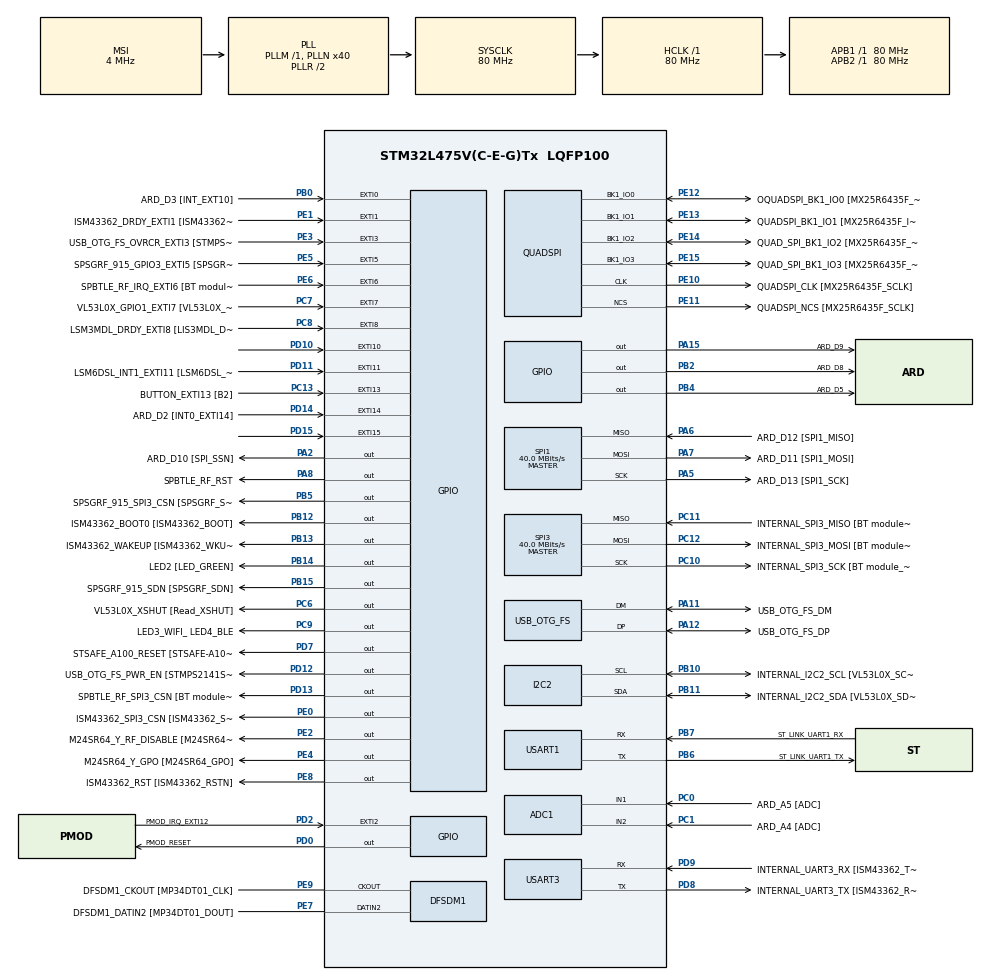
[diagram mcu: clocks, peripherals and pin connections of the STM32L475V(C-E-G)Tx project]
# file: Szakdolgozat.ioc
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ADC1.Channel-0\#ChannelRegularConversion=ADC_CHANNEL_1
ADC1.NbrOfConversionFlag=1
ADC1.OffsetNumber-0\#ChannelRegularConversion=ADC_OFFSET_NONE
ADC1.Rank-0\#ChannelRegularConversion=1
ADC1.SamplingTime-0\#ChannelRegularConversion=ADC_SAMPLETIME_2CYCLES_5
ADC1.master=1
ADC3.Channel-0\#ChannelRegularConversion=ADC_CHANNEL_TEMPSENSOR
ADC3.NbrOfConversionFlag=1
ADC3.OffsetNumber-0\#ChannelRegularConversion=ADC_OFFSET_NONE
ADC3.Rank-0\#ChannelRegularConversion=1
ADC3.SamplingTime-0\#ChannelRegularConversion=ADC_SAMPLETIME_2CYCLES_5
I2C2.Timing=0x10D19CE4
Mcu.Family=STM32L4
Mcu.Name=STM32L475V(C-E-G)Tx
Mcu.Package=LQFP100
NVIC.EXTI15_10_IRQn=true\:0\:0\:false\:false\:true\:true\:true\:true
NVIC.EXTI9_5_IRQn=true\:0\:0\:false\:false\:true\:true\:true\:true
NVIC.PriorityGroup=NVIC_PRIORITYGROUP_4
PA0.GPIO_Label=ARD_D1 [UART4_TX]
PA0.Signal=UART4_TX
PA1.GPIO_Label=ARD_D0 [UART4_RX]
PA1.Signal=UART4_RX
PA10.GPIO_Label=USB_OTG_FS_ID
PA10.Signal=USB_OTG_FS_ID
PA11.GPIO_Label=USB_OTG_FS_DM
PA11.Mode=Device_Only
PA11.Signal=USB_OTG_FS_DM
PA12.GPIO_Label=USB_OTG_FS_DP
PA12.Mode=Device_Only
PA12.Signal=USB_OTG_FS_DP
PA13\ (JTMS-SWDIO).GPIO_Label=SYS_JTMS_SWDIO
PA13\ (JTMS-SWDIO).Mode=Serial_Wire
PA13\ (JTMS-SWDIO).Signal=SYS_JTMS-SWDIO
PA14\ (JTCK-SWCLK).GPIO_Label=SYS_JTCK_SWCLK
PA14\ (JTCK-SWCLK).Mode=Serial_Wire
PA14\ (JTCK-SWCLK).Signal=SYS_JTCK-SWCLK
PA15\ (JTDI).GPIO_Label=ARD_D9
PA15\ (JTDI).Signal=GPIO_Output
PA2.GPIO_Label=ARD_D10 [SPI_SSN]
PA2.Signal=GPIO_Output
PA3.GPIO_Label=ARD_D4
PA3.Signal=S_TIM2_CH4
PA4.GPIO_Label=ARD_D7
PA4.Signal=ADCx_IN9
PA5.GPIO_Label=ARD_D13 [SPI1_SCK]
PA5.Mode=Full_Duplex_Master
PA5.Signal=SPI1_SCK
PA6.GPIO_Label=ARD_D12 [SPI1_MISO]
PA6.Mode=Full_Duplex_Master
PA6.Signal=SPI1_MISO
PA7.GPIO_Label=ARD_D11 [SPI1_MOSI]
PA7.Mode=Full_Duplex_Master
PA7.Signal=SPI1_MOSI
PA8.GPIO_Label=SPBTLE_RF_RST
PA8.Signal=GPIO_Output
PA9.GPIO_Label=USB_OTG_FS_VBUS [STMPS2141STR_OUT]
PA9.Signal=USB_OTG_FS_VBUS
PB0.GPIO_Label=ARD_D3 [INT_EXT10]
PB0.Signal=GPXTI0
PB1.GPIO_Label=ARD_D6 [ADC1_IN6]
PB1.Signal=ADCx_IN16
PB10.GPIO_Label=INTERNAL_I2C2_SCL [VL53L0X_SCL]
PB10.GPIO_Pu=GPIO_PULLUP
PB10.Mode=I2C
PB10.Signal=I2C2_SCL
PB11.GPIO_Label=INTERNAL_I2C2_SDA [VL53L0X_SDA]
PB11.GPIO_Pu=GPIO_PULLUP
PB11.Mode=I2C
PB11.Signal=I2C2_SDA
PB12.GPIO_Label=ISM43362_BOOT0 [ISM43362_BOOT]
PB12.Signal=GPIO_Output
PB13.GPIO_Label=ISM43362_WAKEUP [ISM43362_WKUP]
PB13.Signal=GPIO_Output
PB14.GPIO_Label=LED2 [LED_GREEN]
PB14.Signal=GPIO_Output
PB15.GPIO_Label=SPSGRF_915_SDN [SPSGRF_SDN]
PB15.Signal=GPIO_Output
PB2.GPIO_Label=ARD_D8
PB2.Signal=GPIO_Output
PB3\ (JTDO-TRACESWO).GPIO_Label=SYS_JTD0_SWO
PB3\ (JTDO-TRACESWO).Signal=SYS_JTDO-SWO
PB4\ (NJTRST).GPIO_Label=ARD_D5
PB4\ (NJTRST).Signal=GPIO_Output
PB5.GPIO_Label=SPSGRF_915_SPI3_CSN [SPSGRF_SPI_CS]
PB5.PinState=GPIO_PIN_SET
PB5.Signal=GPIO_Output
PB6.GPIO_Label=ST_LINK_UART1_TX
PB6.Mode=Asynchronous
PB6.Signal=USART1_TX
PB7.GPIO_Label=ST_LINK_UART1_RX
PB7.Mode=Asynchronous
PB7.Signal=USART1_RX
PB8.GPIO_Label=ARD_D15 [I2C1_SCL]
PB8.Signal=I2C1_SCL
PB9.GPIO_Label=ARD_D14 [I2C1_SDA]
PB9.Signal=I2C1_SDA
PC0.GPIO_Label=ARD_A5 [ADC]
PC0.Signal=ADCx_IN1
PC1.GPIO_Label=ARD_A4 [ADC]
PC1.Signal=ADCx_IN2
PC10.GPIO_Label=INTERNAL_SPI3_SCK [BT module_SPI_SCLK] [ISM43362_SCK]
PC10.Mode=Full_Duplex_Master
PC10.Signal=SPI3_SCK
PC11.GPIO_Label=INTERNAL_SPI3_MISO [BT module_SPI_MISO] [ISM43362_MISO]
PC11.Mode=Full_Duplex_Master
PC11.Signal=SPI3_MISO
PC12.GPIO_Label=INTERNAL_SPI3_MOSI [BT module_SPI_MOSI] [ISM43362_MOSI]
PC12.Mode=Full_Duplex_Master
PC12.Signal=SPI3_MOSI
PC13.GPIO_Label=BUTTON_EXTI13 [B2]
PC13.GPIO_ModeDefaultEXTI=GPIO_MODE_IT_FALLING
PC13.Signal=GPXTI13
PC14-OSC32_IN\ (PC14).Mode=LSE-External-Oscillator
PC14-OSC32_IN\ (PC14).Signal=RCC_OSC32_IN
PC15-OSC32_OUT\ (PC15).Mode=LSE-External-Oscillator
PC15-OSC32_OUT\ (PC15).Signal=RCC_OSC32_OUT
PC2.GPIO_Label=ARD_A3 [ADC]
PC2.Signal=ADCx_IN3
PC3.GPIO_Label=ARD_A2 [ADC]
PC3.Signal=ADCx_IN4
PC4.GPIO_Label=ARD_A1 [ADC]
PC4.Signal=ADCx_IN13
PC5.GPIO_Label=ARD_A0 [ADC]
PC5.Signal=ADCx_IN14
PC6.GPIO_Label=VL53L0X_XSHUT [Read_XSHUT]
PC6.Signal=GPIO_Output
PC7.GPIO_Label=VL53L0X_GPIO1_EXTI7 [VL53L0X_GPIO1]
PC7.Signal=GPXTI7
PC8.GPIO_Label=LSM3MDL_DRDY_EXTI8 [LIS3MDL_DRDY]
PC8.Signal=GPXTI8
PC9.GPIO_Label=LED3_WIFI_ LED4_BLE
PC9.Signal=GPIO_Output
PD0.GPIO_Label=PMOD_RESET
PD0.Signal=GPIO_Output
PD1.GPIO_Label=PMOD_SPI2_SCK
PD1.Signal=SPI2_SCK
PD10.Signal=GPXTI10
PD11.GPIO_Label=LSM6DSL_INT1_EXTI11 [LSM6DSL_INT1]
PD11.Signal=GPXTI11
PD12.GPIO_Label=USB_OTG_FS_PWR_EN [STMPS2141STR_EN]
PD12.Signal=GPIO_Output
PD13.GPIO_Label=SPBTLE_RF_SPI3_CSN [BT module_SPI_CS]
PD13.PinState=GPIO_PIN_SET
PD13.Signal=GPIO_Output
PD14.GPIO_Label=ARD_D2 [INT0_EXTI14]
PD14.Signal=GPXTI14
PD15.Signal=GPXTI15
PD2.GPIO_Label=PMOD_IRQ_EXTI12
PD2.Signal=GPXTI2
PD3.GPIO_Label=PMOD_UART2_CTS
PD3.Signal=USART2_CTS
PD4.GPIO_Label=PMOD_UART2_RTS
PD4.Signal=USART2_RTS
PD5.GPIO_Label=PMOD_UART2_TX
PD5.Signal=USART2_TX
PD6.GPIO_Label=PMOD_UART2_RX
PD6.Signal=USART2_RX
PD7.GPIO_Label=STSAFE_A100_RESET [STSAFE-A100_RESET]
PD7.Signal=GPIO_Output
PD8.GPIO_Label=INTERNAL_UART3_TX [ISM43362_RX]
PD8.Mode=Asynchronous
PD8.Signal=USART3_TX
PD9.GPIO_Label=INTERNAL_UART3_RX [ISM43362_TX]
PD9.Mode=Asynchronous
PD9.Signal=USART3_RX
PE0.GPIO_Label=ISM43362_SPI3_CSN [ISM43362_SSN]
PE0.PinState=GPIO_PIN_SET
PE0.Signal=GPIO_Output
PE1.GPIO_Label=ISM43362_DRDY_EXTI1 [ISM43362_DATARDY]
PE1.Signal=GPXTI1
PE10.GPIO_Label=QUADSPI_CLK [MX25R6435F_SCLK]
PE10.Mode=Single Bank
PE10.Signal=QUADSPI_CLK
PE11.GPIO_Label=QUADSPI_NCS [MX25R6435F_SCLK]
PE11.Mode=Single Bank
PE11.Signal=QUADSPI_NCS
PE12.GPIO_Label=OQUADSPI_BK1_IO0 [MX25R6435F_IO0]
PE12.Mode=Single Bank
PE12.Signal=QUADSPI_BK1_IO0
PE13.GPIO_Label=QUADSPI_BK1_IO1 [MX25R6435F_IO1]
PE13.Mode=Single Bank
PE13.Signal=QUADSPI_BK1_IO1
PE14.GPIO_Label=QUAD_SPI_BK1_IO2 [MX25R6435F_IO2]
PE14.Mode=Single Bank
PE14.Signal=QUADSPI_BK1_IO2
PE15.GPIO_Label=QUAD_SPI_BK1_IO3 [MX25R6435F_IO3]
PE15.Mode=Single Bank
PE15.Signal=QUADSPI_BK1_IO3
PE2.GPIO_Label=M24SR64_Y_RF_DISABLE [M24SR64_RFDIS]
PE2.Signal=GPIO_Output
PE3.GPIO_Label=USB_OTG_FS_OVRCR_EXTI3 [STMPS2141STR_FAULT]
PE3.Signal=GPXTI3
PE4.GPIO_Label=M24SR64_Y_GPO [M24SR64_GPO]
PE4.Signal=GPIO_Output
PE5.GPIO_Label=SPSGRF_915_GPIO3_EXTI5 [SPSGRF_GPIO_3]
PE5.Signal=GPXTI5
PE6.GPIO_Label=SPBTLE_RF_IRQ_EXTI6 [BT module_SPI_IRQ]
PE6.Signal=GPXTI6
PE7.GPIO_Label=DFSDM1_DATIN2 [MP34DT01_DOUT]
PE7.Signal=S_DATAIN2DFSDM1
PE8.GPIO_Label=ISM43362_RST [ISM43362_RSTN]
PE8.Signal=GPIO_Output
PE9.GPIO_Label=DFSDM1_CKOUT [MP34DT01_CLK]
PE9.Signal=S_CKOUTDFSDM1
ProjectManager.HeapSize=0x200
ProjectManager.StackSize=0x400
ProjectManager.TargetToolchain=STM32CubeIDE
QUADSPI.ClockPrescaler=2
QUADSPI.FifoThreshold=4
QUADSPI.FlashSize=23
QUADSPI.SampleShifting=QSPI_SAMPLE_SHIFTING_HALFCYCLE
RCC.ADCFreq_Value=48000000
RCC.AHBFreq_Value=80000000
RCC.APB1Freq_Value=80000000
RCC.APB1TimFreq_Value=80000000
RCC.APB2Freq_Value=80000000
RCC.APB2TimFreq_Value=80000000
RCC.CortexFreq_Value=80000000
RCC.HCLKFreq_Value=80000000
RCC.HSE_VALUE=8000000
RCC.HSI_VALUE=16000000
RCC.MSI_VALUE=4000000
RCC.PLLN=40
RCC.PLLSAI1N=24
RCC.SYSCLKFreq_VALUE=80000000
RCC.SYSCLKSource=RCC_SYSCLKSOURCE_PLLCLK
RCC.USBFreq_Value=48000000
RCC.VCOOutputFreq_Value=160000000
SH.ADCx_IN1.0=ADC1_IN1,IN1-Single-Ended
SH.ADCx_IN13.0=ADC1_IN13
SH.ADCx_IN14.0=ADC1_IN14
SH.ADCx_IN16.0=ADC1_IN16
SH.ADCx_IN2.0=ADC1_IN2,IN2-Single-Ended
SH.ADCx_IN3.0=ADC1_IN3
SH.ADCx_IN4.0=ADC1_IN4
SH.ADCx_IN9.0=ADC1_IN9
SH.S_CKOUTDFSDM1.0=DFSDM1_CKOUT,CKOUT
SH.S_CKOUTDFSDM1.1=DFSDM1_CKOUT,PDM_SPI_Input_from_ch12_and_Internal_Clock
SH.S_DATAIN2DFSDM1.0=DFSDM1_DATIN2,PDM_SPI_Input_from_ch12_and_Internal_Clock
SH.S_TIM2_CH4.0=TIM2_CH4
SPI1.CalculateBaudRate=40.0 MBits/s
SPI1.Direction=SPI_DIRECTION_2LINES
SPI1.Mode=SPI_MODE_MASTER
SPI1.VirtualType=VM_MASTER
SPI3.CalculateBaudRate=40.0 MBits/s
SPI3.Direction=SPI_DIRECTION_2LINES
SPI3.Mode=SPI_MODE_MASTER
SPI3.VirtualType=VM_MASTER
STMicroelectronics.X-CUBE-MEMS1.11.0.0.BoardOoPartJjHumTempJjHTS221=I2C
STMicroelectronics.X-CUBE-MEMS1.11.0.0.BoardOoPartJjPressTempJjLPS22HB=I2C
USART1.VirtualMode-Asynchronous=VM_ASYNC
USART3.VirtualMode-Asynchronous=VM_ASYNC
USB_OTG_FS.VirtualMode=Device_Only
VP_ADC3_TempSens_Input.Mode=IN-TempSens
VP_STMicroelectronics.X-CUBE-MEMS1_VS_BoardOoPartJjHumTemp_5.6.0_11.0.0.Mode=BoardOoPartJjHumTemp
VP_STMicroelectronics.X-CUBE-MEMS1_VS_BoardOoPartJjPressTemp_5.6.0_11.0.0.Mode=BoardOoPartJjPressTemp
board=B-L475E-IOT01A2

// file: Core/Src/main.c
/* USER CODE BEGIN Header */
/**
  ******************************************************************************
  * @file           : main.c
  * @brief          : Main program body
  ******************************************************************************
  * @attention
  *
  * Copyright (c) 2024 STMicroelectronics.
  * All rights reserved.
  *
  * This software is licensed under terms that can be found in the LICENSE file
  * in the root directory of this software component.
  * If no LICENSE file comes with this software, it is provided AS-IS.
  *
  ******************************************************************************
  */
/* USER CODE END Header */
#include "main.h"

/* USER CODE BEGIN Includes */

#include <math.h>
#include <string.h>
#include <stdio.h>
#include "hts221.h"

/* USER CODE END Includes */

/* USER CODE BEGIN PD */

#define HTS221_ADDR 0xBE // 0xBE/0xBF HTS221 I2C cím (0x5F balra tolva 1 bittel)
#define LPS22HB_ADDR 0xBA // 0xBA/0xBB LPS22HB I2C cím (0x5D balra tolva 1 bittel)

/* USER CODE END PD */

ADC_HandleTypeDef hadc1;
ADC_HandleTypeDef hadc3;

DFSDM_Channel_HandleTypeDef hdfsdm1_channel1;

I2C_HandleTypeDef hi2c2;

QSPI_HandleTypeDef hqspi;

SPI_HandleTypeDef hspi1;
SPI_HandleTypeDef hspi3;

UART_HandleTypeDef huart1;
UART_HandleTypeDef huart3;

PCD_HandleTypeDef hpcd_USB_OTG_FS;

/* USER CODE BEGIN PV */

char taskmsg[100];
HTS221_Object_t hts221;

/* USER CODE END PV */

void SystemClock_Config(void);
void PeriphCommonClock_Config(void);
static void MX_GPIO_Init(void);
static void MX_DFSDM1_Init(void);
static void MX_I2C2_Init(void);
static void MX_QUADSPI_Init(void);
static void MX_SPI3_Init(void);
static void MX_USART1_UART_Init(void);
static void MX_USART3_UART_Init(void);
static void MX_USB_OTG_FS_PCD_Init(void);
static void MX_ADC1_Init(void);
static void MX_ADC3_Init(void);
static void MX_SPI1_Init(void);
/* USER CODE BEGIN PFP */

void Temp_Sensor_Init();
void read_environment_data(void);

/* USER CODE END PFP */

int main(void)
{

  /* MCU Configuration--------------------------------------------------------*/

  /* Reset of all peripherals, Initializes the Flash interface and the Systick. */
  HAL_Init();

  /* Configure the system clock */
  SystemClock_Config();

  /* Configure the peripherals common clocks */
  PeriphCommonClock_Config();

  /* USER CODE BEGIN SysInit */
  void I2C_Scanner(void)
  {
      char msg[64];
      HAL_StatusTypeDef result;
      uint8_t i;

      sprintf(msg, "I2C Scanner Results:\r\n");
      HAL_UART_Transmit(&huart1, (uint8_t*)msg, strlen(msg), HAL_MAX_DELAY);

      // I2C címtartomány 0x08 - 0x77 (7 bites címzés)
      for (i = 0x08; i < 0x78; i++)
      {
          result = HAL_I2C_IsDeviceReady(&hi2c2, (uint16_t)(i << 1), 1, HAL_MAX_DELAY);
          if (result == HAL_OK)
          {
              // Ha van válasz, kiírjuk a címet
              sprintf(msg, "Eszköz talált az alábbi címen: 0x%02X\r\n", i);
              HAL_UART_Transmit(&huart1, (uint8_t*)msg, strlen(msg), HAL_MAX_DELAY);
          }
      }

      sprintf(msg, "I2C szkennelés vége\r\n");
      HAL_UART_Transmit(&huart1, (uint8_t*)msg, strlen(msg), HAL_MAX_DELAY);
  }

  /* USER CODE END SysInit */

  /* Initialize all configured peripherals */
  MX_GPIO_Init();
  MX_DFSDM1_Init();
  MX_I2C2_Init();
  MX_QUADSPI_Init();
  MX_SPI3_Init();
  MX_USART1_UART_Init();
  MX_USART3_UART_Init();
  MX_USB_OTG_FS_PCD_Init();
  MX_ADC1_Init();
  MX_ADC3_Init();
  MX_SPI1_Init();
  /* USER CODE BEGIN 2 */

  Temp_Sensor_Init();

  /* USER CODE END 2 */

  /* Infinite loop */
  /* USER CODE BEGIN WHILE */
  I2C_Scanner();
  while (1)
  {
	  read_environment_data();
	  HAL_Delay(600000); // 10 percenként ismétel
    /* USER CODE END WHILE */

  }
}

void SystemClock_Config(void)
{
  RCC_OscInitTypeDef RCC_OscInitStruct = {0};
  RCC_ClkInitTypeDef RCC_ClkInitStruct = {0};

  /** Configure the main internal regulator output voltage
  */
  if (HAL_PWREx_ControlVoltageScaling(PWR_REGULATOR_VOLTAGE_SCALE1) != HAL_OK)
  {
    Error_Handler();
  }

  /** Configure LSE Drive Capability
  */
  HAL_PWR_EnableBkUpAccess();
  __HAL_RCC_LSEDRIVE_CONFIG(RCC_LSEDRIVE_LOW);

  /** Initializes the RCC Oscillators according to the specified parameters
  * in the RCC_OscInitTypeDef structure.
  */
  RCC_OscInitStruct.OscillatorType = RCC_OSCILLATORTYPE_LSE|RCC_OSCILLATORTYPE_MSI;
  RCC_OscInitStruct.LSEState = RCC_LSE_ON;
  RCC_OscInitStruct.MSIState = RCC_MSI_ON;
  RCC_OscInitStruct.MSICalibrationValue = 0;
  RCC_OscInitStruct.MSIClockRange = RCC_MSIRANGE_6;
  RCC_OscInitStruct.PLL.PLLState = RCC_PLL_ON;
  RCC_OscInitStruct.PLL.PLLSource = RCC_PLLSOURCE_MSI;
  RCC_OscInitStruct.PLL.PLLM = 1;
  RCC_OscInitStruct.PLL.PLLN = 40;
  RCC_OscInitStruct.PLL.PLLP = RCC_PLLP_DIV7;
  RCC_OscInitStruct.PLL.PLLQ = RCC_PLLQ_DIV2;
  RCC_OscInitStruct.PLL.PLLR = RCC_PLLR_DIV2;
  if (HAL_RCC_OscConfig(&RCC_OscInitStruct) != HAL_OK)
  {
    Error_Handler();
  }

  /** Initializes the CPU, AHB and APB buses clocks
  */
  RCC_ClkInitStruct.ClockType = RCC_CLOCKTYPE_HCLK|RCC_CLOCKTYPE_SYSCLK
                              |RCC_CLOCKTYPE_PCLK1|RCC_CLOCKTYPE_PCLK2;
  RCC_ClkInitStruct.SYSCLKSource = RCC_SYSCLKSOURCE_PLLCLK;
  RCC_ClkInitStruct.AHBCLKDivider = RCC_SYSCLK_DIV1;
  RCC_ClkInitStruct.APB1CLKDivider = RCC_HCLK_DIV1;
  RCC_ClkInitStruct.APB2CLKDivider = RCC_HCLK_DIV1;

  if (HAL_RCC_ClockConfig(&RCC_ClkInitStruct, FLASH_LATENCY_4) != HAL_OK)
  {
    Error_Handler();
  }

  /** Enable MSI Auto calibration
  */
  HAL_RCCEx_EnableMSIPLLMode();
}

void PeriphCommonClock_Config(void)
{
  RCC_PeriphCLKInitTypeDef PeriphClkInit = {0};

  /** Initializes the peripherals clock
  */
  PeriphClkInit.PeriphClockSelection = RCC_PERIPHCLK_USB|RCC_PERIPHCLK_ADC;
  PeriphClkInit.AdcClockSelection = RCC_ADCCLKSOURCE_PLLSAI1;
  PeriphClkInit.UsbClockSelection = RCC_USBCLKSOURCE_PLLSAI1;
  PeriphClkInit.PLLSAI1.PLLSAI1Source = RCC_PLLSOURCE_MSI;
  PeriphClkInit.PLLSAI1.PLLSAI1M = 1;
  PeriphClkInit.PLLSAI1.PLLSAI1N = 24;
  PeriphClkInit.PLLSAI1.PLLSAI1P = RCC_PLLP_DIV7;
  PeriphClkInit.PLLSAI1.PLLSAI1Q = RCC_PLLQ_DIV2;
  PeriphClkInit.PLLSAI1.PLLSAI1R = RCC_PLLR_DIV2;
  PeriphClkInit.PLLSAI1.PLLSAI1ClockOut = RCC_PLLSAI1_48M2CLK|RCC_PLLSAI1_ADC1CLK;
  if (HAL_RCCEx_PeriphCLKConfig(&PeriphClkInit) != HAL_OK)
  {
    Error_Handler();
  }
}

static void MX_ADC1_Init(void)
{

  ADC_MultiModeTypeDef multimode = {0};
  ADC_ChannelConfTypeDef sConfig = {0};

  /** Common config
  */
  hadc1.Instance = ADC1;
  hadc1.Init.ClockPrescaler = ADC_CLOCK_ASYNC_DIV1;
  hadc1.Init.Resolution = ADC_RESOLUTION_12B;
  hadc1.Init.DataAlign = ADC_DATAALIGN_RIGHT;
  hadc1.Init.ScanConvMode = ADC_SCAN_DISABLE;
  hadc1.Init.EOCSelection = ADC_EOC_SINGLE_CONV;
  hadc1.Init.LowPowerAutoWait = DISABLE;
  hadc1.Init.ContinuousConvMode = DISABLE;
  hadc1.Init.NbrOfConversion = 1;
  hadc1.Init.DiscontinuousConvMode = DISABLE;
  hadc1.Init.ExternalTrigConv = ADC_SOFTWARE_START;
  hadc1.Init.ExternalTrigConvEdge = ADC_EXTERNALTRIGCONVEDGE_NONE;
  hadc1.Init.DMAContinuousRequests = DISABLE;
  hadc1.Init.Overrun = ADC_OVR_DATA_PRESERVED;
  hadc1.Init.OversamplingMode = DISABLE;
  if (HAL_ADC_Init(&hadc1) != HAL_OK)
  {
    Error_Handler();
  }

  /** Configure the ADC multi-mode
  */
  multimode.Mode = ADC_MODE_INDEPENDENT;
  if (HAL_ADCEx_MultiModeConfigChannel(&hadc1, &multimode) != HAL_OK)
  {
    Error_Handler();
  }

  /** Configure Regular Channel
  */
  sConfig.Channel = ADC_CHANNEL_1;
  sConfig.Rank = ADC_REGULAR_RANK_1;
  sConfig.SamplingTime = ADC_SAMPLETIME_2CYCLES_5;
  sConfig.SingleDiff = ADC_SINGLE_ENDED;
  sConfig.OffsetNumber = ADC_OFFSET_NONE;
  sConfig.Offset = 0;
  if (HAL_ADC_ConfigChannel(&hadc1, &sConfig) != HAL_OK)
  {
    Error_Handler();
  }

}

static void MX_ADC3_Init(void)
{

  ADC_ChannelConfTypeDef sConfig = {0};

  /** Common config
  */
  hadc3.Instance = ADC3;
  hadc3.Init.ClockPrescaler = ADC_CLOCK_ASYNC_DIV1;
  hadc3.Init.Resolution = ADC_RESOLUTION_12B;
  hadc3.Init.DataAlign = ADC_DATAALIGN_RIGHT;
  hadc3.Init.ScanConvMode = ADC_SCAN_DISABLE;
  hadc3.Init.EOCSelection = ADC_EOC_SINGLE_CONV;
  hadc3.Init.LowPowerAutoWait = DISABLE;
  hadc3.Init.ContinuousConvMode = DISABLE;
  hadc3.Init.NbrOfConversion = 1;
  hadc3.Init.DiscontinuousConvMode = DISABLE;
  hadc3.Init.ExternalTrigConv = ADC_SOFTWARE_START;
  hadc3.Init.ExternalTrigConvEdge = ADC_EXTERNALTRIGCONVEDGE_NONE;
  hadc3.Init.DMAContinuousRequests = DISABLE;
  hadc3.Init.Overrun = ADC_OVR_DATA_PRESERVED;
  hadc3.Init.OversamplingMode = DISABLE;
  if (HAL_ADC_Init(&hadc3) != HAL_OK)
  {
    Error_Handler();
  }

  /** Configure Regular Channel
  */
  sConfig.Channel = ADC_CHANNEL_TEMPSENSOR;
  sConfig.Rank = ADC_REGULAR_RANK_1;
  sConfig.SamplingTime = ADC_SAMPLETIME_2CYCLES_5;
  sConfig.SingleDiff = ADC_SINGLE_ENDED;
  sConfig.OffsetNumber = ADC_OFFSET_NONE;
  sConfig.Offset = 0;
  if (HAL_ADC_ConfigChannel(&hadc3, &sConfig) != HAL_OK)
  {
    Error_Handler();
  }

}

static void MX_DFSDM1_Init(void)
{

  hdfsdm1_channel1.Instance = DFSDM1_Channel1;
  hdfsdm1_channel1.Init.OutputClock.Activation = ENABLE;
  hdfsdm1_channel1.Init.OutputClock.Selection = DFSDM_CHANNEL_OUTPUT_CLOCK_SYSTEM;
  hdfsdm1_channel1.Init.OutputClock.Divider = 2;
  hdfsdm1_channel1.Init.Input.Multiplexer = DFSDM_CHANNEL_EXTERNAL_INPUTS;
  hdfsdm1_channel1.Init.Input.DataPacking = DFSDM_CHANNEL_STANDARD_MODE;
  hdfsdm1_channel1.Init.Input.Pins = DFSDM_CHANNEL_FOLLOWING_CHANNEL_PINS;
  hdfsdm1_channel1.Init.SerialInterface.Type = DFSDM_CHANNEL_SPI_RISING;
  hdfsdm1_channel1.Init.SerialInterface.SpiClock = DFSDM_CHANNEL_SPI_CLOCK_INTERNAL;
  hdfsdm1_channel1.Init.Awd.FilterOrder = DFSDM_CHANNEL_FASTSINC_ORDER;
  hdfsdm1_channel1.Init.Awd.Oversampling = 1;
  hdfsdm1_channel1.Init.Offset = 0;
  hdfsdm1_channel1.Init.RightBitShift = 0x00;
  if (HAL_DFSDM_ChannelInit(&hdfsdm1_channel1) != HAL_OK)
  {
    Error_Handler();
  }

}

static void MX_I2C2_Init(void)
{

  hi2c2.Instance = I2C2;
  hi2c2.Init.Timing = 0x10D19CE4;
  hi2c2.Init.OwnAddress1 = 0;
  hi2c2.Init.AddressingMode = I2C_ADDRESSINGMODE_7BIT;
  hi2c2.Init.DualAddressMode = I2C_DUALADDRESS_DISABLE;
  hi2c2.Init.OwnAddress2 = 0;
  hi2c2.Init.OwnAddress2Masks = I2C_OA2_NOMASK;
  hi2c2.Init.GeneralCallMode = I2C_GENERALCALL_DISABLE;
  hi2c2.Init.NoStretchMode = I2C_NOSTRETCH_DISABLE;
  if (HAL_I2C_Init(&hi2c2) != HAL_OK)
  {
    Error_Handler();
  }

  /** Configure Analogue filter
  */
  if (HAL_I2CEx_ConfigAnalogFilter(&hi2c2, I2C_ANALOGFILTER_ENABLE) != HAL_OK)
  {
    Error_Handler();
  }

  /** Configure Digital filter
  */
  if (HAL_I2CEx_ConfigDigitalFilter(&hi2c2, 0) != HAL_OK)
  {
    Error_Handler();
  }

}

static void MX_QUADSPI_Init(void)
{

  /* QUADSPI parameter configuration*/
  hqspi.Instance = QUADSPI;
  hqspi.Init.ClockPrescaler = 2;
  hqspi.Init.FifoThreshold = 4;
  hqspi.Init.SampleShifting = QSPI_SAMPLE_SHIFTING_HALFCYCLE;
  hqspi.Init.FlashSize = 23;
  hqspi.Init.ChipSelectHighTime = QSPI_CS_HIGH_TIME_1_CYCLE;
  hqspi.Init.ClockMode = QSPI_CLOCK_MODE_0;
  if (HAL_QSPI_Init(&hqspi) != HAL_OK)
  {
    Error_Handler();
  }

}

static void MX_SPI1_Init(void)
{

  /* SPI1 parameter configuration*/
  hspi1.Instance = SPI1;
  hspi1.Init.Mode = SPI_MODE_MASTER;
  hspi1.Init.Direction = SPI_DIRECTION_2LINES;
  hspi1.Init.DataSize = SPI_DATASIZE_4BIT;
  hspi1.Init.CLKPolarity = SPI_POLARITY_LOW;
  hspi1.Init.CLKPhase = SPI_PHASE_1EDGE;
  hspi1.Init.NSS = SPI_NSS_SOFT;
  hspi1.Init.BaudRatePrescaler = SPI_BAUDRATEPRESCALER_2;
  hspi1.Init.FirstBit = SPI_FIRSTBIT_MSB;
  hspi1.Init.TIMode = SPI_TIMODE_DISABLE;
  hspi1.Init.CRCCalculation = SPI_CRCCALCULATION_DISABLE;
  hspi1.Init.CRCPolynomial = 7;
  hspi1.Init.CRCLength = SPI_CRC_LENGTH_DATASIZE;
  hspi1.Init.NSSPMode = SPI_NSS_PULSE_ENABLE;
  if (HAL_SPI_Init(&hspi1) != HAL_OK)
  {
    Error_Handler();
  }

}

static void MX_SPI3_Init(void)
{

  /* SPI3 parameter configuration*/
  hspi3.Instance = SPI3;
  hspi3.Init.Mode = SPI_MODE_MASTER;
  hspi3.Init.Direction = SPI_DIRECTION_2LINES;
  hspi3.Init.DataSize = SPI_DATASIZE_4BIT;
  hspi3.Init.CLKPolarity = SPI_POLARITY_LOW;
  hspi3.Init.CLKPhase = SPI_PHASE_1EDGE;
  hspi3.Init.NSS = SPI_NSS_SOFT;
  hspi3.Init.BaudRatePrescaler = SPI_BAUDRATEPRESCALER_2;
  hspi3.Init.FirstBit = SPI_FIRSTBIT_MSB;
  hspi3.Init.TIMode = SPI_TIMODE_DISABLE;
  hspi3.Init.CRCCalculation = SPI_CRCCALCULATION_DISABLE;
  hspi3.Init.CRCPolynomial = 7;
  hspi3.Init.CRCLength = SPI_CRC_LENGTH_DATASIZE;
  hspi3.Init.NSSPMode = SPI_NSS_PULSE_ENABLE;
  if (HAL_SPI_Init(&hspi3) != HAL_OK)
  {
    Error_Handler();
  }

}

static void MX_USART1_UART_Init(void)
{

  huart1.Instance = USART1;
  huart1.Init.BaudRate = 115200;
  huart1.Init.WordLength = UART_WORDLENGTH_8B;
  huart1.Init.StopBits = UART_STOPBITS_1;
  huart1.Init.Parity = UART_PARITY_NONE;
  huart1.Init.Mode = UART_MODE_TX_RX;
  huart1.Init.HwFlowCtl = UART_HWCONTROL_NONE;
  huart1.Init.OverSampling = UART_OVERSAMPLING_16;
  huart1.Init.OneBitSampling = UART_ONE_BIT_SAMPLE_DISABLE;
  huart1.AdvancedInit.AdvFeatureInit = UART_ADVFEATURE_NO_INIT;
  if (HAL_UART_Init(&huart1) != HAL_OK)
  {
    Error_Handler();
  }

}

static void MX_USART3_UART_Init(void)
{

  huart3.Instance = USART3;
  huart3.Init.BaudRate = 115200;
  huart3.Init.WordLength = UART_WORDLENGTH_8B;
  huart3.Init.StopBits = UART_STOPBITS_1;
  huart3.Init.Parity = UART_PARITY_NONE;
  huart3.Init.Mode = UART_MODE_TX_RX;
  huart3.Init.HwFlowCtl = UART_HWCONTROL_NONE;
  huart3.Init.OverSampling = UART_OVERSAMPLING_16;
  huart3.Init.OneBitSampling = UART_ONE_BIT_SAMPLE_DISABLE;
  huart3.AdvancedInit.AdvFeatureInit = UART_ADVFEATURE_NO_INIT;
  if (HAL_UART_Init(&huart3) != HAL_OK)
  {
    Error_Handler();
  }

}

static void MX_USB_OTG_FS_PCD_Init(void)
{

  hpcd_USB_OTG_FS.Instance = USB_OTG_FS;
  hpcd_USB_OTG_FS.Init.dev_endpoints = 6;
  hpcd_USB_OTG_FS.Init.speed = PCD_SPEED_FULL;
  hpcd_USB_OTG_FS.Init.phy_itface = PCD_PHY_EMBEDDED;
  hpcd_USB_OTG_FS.Init.Sof_enable = DISABLE;
  hpcd_USB_OTG_FS.Init.low_power_enable = DISABLE;
  hpcd_USB_OTG_FS.Init.lpm_enable = DISABLE;
  hpcd_USB_OTG_FS.Init.battery_charging_enable = DISABLE;
  hpcd_USB_OTG_FS.Init.use_dedicated_ep1 = DISABLE;
  hpcd_USB_OTG_FS.Init.vbus_sensing_enable = DISABLE;
  if (HAL_PCD_Init(&hpcd_USB_OTG_FS) != HAL_OK)
  {
    Error_Handler();
  }

}

static void MX_GPIO_Init(void)
{
  GPIO_InitTypeDef GPIO_InitStruct = {0};

  /* GPIO Ports Clock Enable */
  __HAL_RCC_GPIOE_CLK_ENABLE();
  __HAL_RCC_GPIOC_CLK_ENABLE();
  __HAL_RCC_GPIOA_CLK_ENABLE();
  __HAL_RCC_GPIOB_CLK_ENABLE();
  __HAL_RCC_GPIOD_CLK_ENABLE();

  /*Configure GPIO pin Output Level */
  HAL_GPIO_WritePin(GPIOE, M24SR64_Y_RF_DISABLE_Pin|M24SR64_Y_GPO_Pin|ISM43362_RST_Pin, GPIO_PIN_RESET);

  /*Configure GPIO pin Output Level */
  HAL_GPIO_WritePin(GPIOA, ARD_D10_Pin|SPBTLE_RF_RST_Pin|ARD_D9_Pin, GPIO_PIN_RESET);

  /*Configure GPIO pin Output Level */
  HAL_GPIO_WritePin(GPIOB, ARD_D8_Pin|ISM43362_BOOT0_Pin|ISM43362_WAKEUP_Pin|LED2_Pin
                          |SPSGRF_915_SDN_Pin|ARD_D5_Pin, GPIO_PIN_RESET);

  /*Configure GPIO pin Output Level */
  HAL_GPIO_WritePin(GPIOD, USB_OTG_FS_PWR_EN_Pin|PMOD_RESET_Pin|STSAFE_A100_RESET_Pin, GPIO_PIN_RESET);

  /*Configure GPIO pin Output Level */
  HAL_GPIO_WritePin(SPBTLE_RF_SPI3_CSN_GPIO_Port, SPBTLE_RF_SPI3_CSN_Pin, GPIO_PIN_SET);

  /*Configure GPIO pin Output Level */
  HAL_GPIO_WritePin(GPIOC, VL53L0X_XSHUT_Pin|LED3_WIFI__LED4_BLE_Pin, GPIO_PIN_RESET);

  /*Configure GPIO pin Output Level */
  HAL_GPIO_WritePin(SPSGRF_915_SPI3_CSN_GPIO_Port, SPSGRF_915_SPI3_CSN_Pin, GPIO_PIN_SET);

  /*Configure GPIO pin Output Level */
  HAL_GPIO_WritePin(ISM43362_SPI3_CSN_GPIO_Port, ISM43362_SPI3_CSN_Pin, GPIO_PIN_SET);

  /*Configure GPIO pins : M24SR64_Y_RF_DISABLE_Pin M24SR64_Y_GPO_Pin ISM43362_RST_Pin ISM43362_SPI3_CSN_Pin */
  GPIO_InitStruct.Pin = M24SR64_Y_RF_DISABLE_Pin|M24SR64_Y_GPO_Pin|ISM43362_RST_Pin|ISM43362_SPI3_CSN_Pin;
  GPIO_InitStruct.Mode = GPIO_MODE_OUTPUT_PP;
  GPIO_InitStruct.Pull = GPIO_NOPULL;
  GPIO_InitStruct.Speed = GPIO_SPEED_FREQ_LOW;
  HAL_GPIO_Init(GPIOE, &GPIO_InitStruct);

  /*Configure GPIO pins : USB_OTG_FS_OVRCR_EXTI3_Pin SPSGRF_915_GPIO3_EXTI5_Pin SPBTLE_RF_IRQ_EXTI6_Pin ISM43362_DRDY_EXTI1_Pin */
  GPIO_InitStruct.Pin = USB_OTG_FS_OVRCR_EXTI3_Pin|SPSGRF_915_GPIO3_EXTI5_Pin|SPBTLE_RF_IRQ_EXTI6_Pin|ISM43362_DRDY_EXTI1_Pin;
  GPIO_InitStruct.Mode = GPIO_MODE_IT_RISING;
  GPIO_InitStruct.Pull = GPIO_NOPULL;
  HAL_GPIO_Init(GPIOE, &GPIO_InitStruct);

  /*Configure GPIO pin : BUTTON_EXTI13_Pin */
  GPIO_InitStruct.Pin = BUTTON_EXTI13_Pin;
  GPIO_InitStruct.Mode = GPIO_MODE_IT_FALLING;
  GPIO_InitStruct.Pull = GPIO_NOPULL;
  HAL_GPIO_Init(BUTTON_EXTI13_GPIO_Port, &GPIO_InitStruct);

  /*Configure GPIO pins : ARD_D1_Pin ARD_D0_Pin */
  GPIO_InitStruct.Pin = ARD_D1_Pin|ARD_D0_Pin;
  GPIO_InitStruct.Mode = GPIO_MODE_AF_PP;
  GPIO_InitStruct.Pull = GPIO_NOPULL;
  GPIO_InitStruct.Speed = GPIO_SPEED_FREQ_VERY_HIGH;
  GPIO_InitStruct.Alternate = GPIO_AF8_UART4;
  HAL_GPIO_Init(GPIOA, &GPIO_InitStruct);

  /*Configure GPIO pins : ARD_D10_Pin SPBTLE_RF_RST_Pin ARD_D9_Pin */
  GPIO_InitStruct.Pin = ARD_D10_Pin|SPBTLE_RF_RST_Pin|ARD_D9_Pin;
  GPIO_InitStruct.Mode = GPIO_MODE_OUTPUT_PP;
  GPIO_InitStruct.Pull = GPIO_NOPULL;
  GPIO_InitStruct.Speed = GPIO_SPEED_FREQ_LOW;
  HAL_GPIO_Init(GPIOA, &GPIO_InitStruct);

  /*Configure GPIO pin : ARD_D4_Pin */
  GPIO_InitStruct.Pin = ARD_D4_Pin;
  GPIO_InitStruct.Mode = GPIO_MODE_AF_PP;
  GPIO_InitStruct.Pull = GPIO_NOPULL;
  GPIO_InitStruct.Speed = GPIO_SPEED_FREQ_LOW;
  GPIO_InitStruct.Alternate = GPIO_AF1_TIM2;
  HAL_GPIO_Init(ARD_D4_GPIO_Port, &GPIO_InitStruct);

  /*Configure GPIO pin : ARD_D3_Pin */
  GPIO_InitStruct.Pin = ARD_D3_Pin;
  GPIO_InitStruct.Mode = GPIO_MODE_IT_RISING;
  GPIO_InitStruct.Pull = GPIO_NOPULL;
  HAL_GPIO_Init(ARD_D3_GPIO_Port, &GPIO_InitStruct);

  /*Configure GPIO pins : ARD_D8_Pin ISM43362_BOOT0_Pin ISM43362_WAKEUP_Pin LED2_Pin
                           SPSGRF_915_SDN_Pin ARD_D5_Pin SPSGRF_915_SPI3_CSN_Pin */
  GPIO_InitStruct.Pin = ARD_D8_Pin|ISM43362_BOOT0_Pin|ISM43362_WAKEUP_Pin|LED2_Pin
                          |SPSGRF_915_SDN_Pin|ARD_D5_Pin|SPSGRF_915_SPI3_CSN_Pin;
  GPIO_InitStruct.Mode = GPIO_MODE_OUTPUT_PP;
  GPIO_InitStruct.Pull = GPIO_NOPULL;
  GPIO_InitStruct.Speed = GPIO_SPEED_FREQ_LOW;
  HAL_GPIO_Init(GPIOB, &GPIO_InitStruct);

  /*Configure GPIO pins : PD10 LSM6DSL_INT1_EXTI11_Pin ARD_D2_Pin PD15
                           PMOD_IRQ_EXTI12_Pin */
  GPIO_InitStruct.Pin = GPIO_PIN_10|LSM6DSL_INT1_EXTI11_Pin|ARD_D2_Pin|GPIO_PIN_15
                          |PMOD_IRQ_EXTI12_Pin;
  GPIO_InitStruct.Mode = GPIO_MODE_IT_RISING;
  GPIO_InitStruct.Pull = GPIO_NOPULL;
  HAL_GPIO_Init(GPIOD, &GPIO_InitStruct);

  /*Configure GPIO pins : USB_OTG_FS_PWR_EN_Pin SPBTLE_RF_SPI3_CSN_Pin PMOD_RESET_Pin STSAFE_A100_RESET_Pin */
  GPIO_InitStruct.Pin = USB_OTG_FS_PWR_EN_Pin|SPBTLE_RF_SPI3_CSN_Pin|PMOD_RESET_Pin|STSAFE_A100_RESET_Pin;
  GPIO_InitStruct.Mode = GPIO_MODE_OUTPUT_PP;
  GPIO_InitStruct.Pull = GPIO_NOPULL;
  GPIO_InitStruct.Speed = GPIO_SPEED_FREQ_LOW;
  HAL_GPIO_Init(GPIOD, &GPIO_InitStruct);

  /*Configure GPIO pins : VL53L0X_XSHUT_Pin LED3_WIFI__LED4_BLE_Pin */
  GPIO_InitStruct.Pin = VL53L0X_XSHUT_Pin|LED3_WIFI__LED4_BLE_Pin;
  GPIO_InitStruct.Mode = GPIO_MODE_OUTPUT_PP;
  GPIO_InitStruct.Pull = GPIO_NOPULL;
  GPIO_InitStruct.Speed = GPIO_SPEED_FREQ_LOW;
  HAL_GPIO_Init(GPIOC, &GPIO_InitStruct);

  /*Configure GPIO pins : VL53L0X_GPIO1_EXTI7_Pin LSM3MDL_DRDY_EXTI8_Pin */
  GPIO_InitStruct.Pin = VL53L0X_GPIO1_EXTI7_Pin|LSM3MDL_DRDY_EXTI8_Pin;
  GPIO_InitStruct.Mode = GPIO_MODE_IT_RISING;
  GPIO_InitStruct.Pull = GPIO_NOPULL;
  HAL_GPIO_Init(GPIOC, &GPIO_InitStruct);

  /*Configure GPIO pin : PMOD_SPI2_SCK_Pin */
  GPIO_InitStruct.Pin = PMOD_SPI2_SCK_Pin;
  GPIO_InitStruct.Mode = GPIO_MODE_AF_PP;
  GPIO_InitStruct.Pull = GPIO_NOPULL;
  GPIO_InitStruct.Speed = GPIO_SPEED_FREQ_VERY_HIGH;
  GPIO_InitStruct.Alternate = GPIO_AF5_SPI2;
  HAL_GPIO_Init(PMOD_SPI2_SCK_GPIO_Port, &GPIO_InitStruct);

  /*Configure GPIO pins : PMOD_UART2_CTS_Pin PMOD_UART2_RTS_Pin PMOD_UART2_TX_Pin PMOD_UART2_RX_Pin */
  GPIO_InitStruct.Pin = PMOD_UART2_CTS_Pin|PMOD_UART2_RTS_Pin|PMOD_UART2_TX_Pin|PMOD_UART2_RX_Pin;
  GPIO_InitStruct.Mode = GPIO_MODE_AF_PP;
  GPIO_InitStruct.Pull = GPIO_NOPULL;
  GPIO_InitStruct.Speed = GPIO_SPEED_FREQ_VERY_HIGH;
  GPIO_InitStruct.Alternate = GPIO_AF7_USART2;
  HAL_GPIO_Init(GPIOD, &GPIO_InitStruct);

  /*Configure GPIO pins : ARD_D15_Pin ARD_D14_Pin */
  GPIO_InitStruct.Pin = ARD_D15_Pin|ARD_D14_Pin;
  GPIO_InitStruct.Mode = GPIO_MODE_AF_OD;
  GPIO_InitStruct.Pull = GPIO_NOPULL;
  GPIO_InitStruct.Speed = GPIO_SPEED_FREQ_VERY_HIGH;
  GPIO_InitStruct.Alternate = GPIO_AF4_I2C1;
  HAL_GPIO_Init(GPIOB, &GPIO_InitStruct);

  /* EXTI interrupt init*/
  HAL_NVIC_SetPriority(EXTI9_5_IRQn, 0, 0);
  HAL_NVIC_EnableIRQ(EXTI9_5_IRQn);

  HAL_NVIC_SetPriority(EXTI15_10_IRQn, 0, 0);
  HAL_NVIC_EnableIRQ(EXTI15_10_IRQn);

}

/* USER CODE BEGIN 4 */

// ADC értékek beolvasása
uint32_t read_adc_value(uint32_t channel)
{
    ADC_ChannelConfTypeDef sConfig = {0};
    sConfig.Channel = channel;
    sConfig.Rank = ADC_REGULAR_RANK_1;
    sConfig.SamplingTime = ADC_SAMPLETIME_47CYCLES_5;
    sConfig.OffsetNumber = ADC_OFFSET_NONE;
    sConfig.Offset = 0;
    HAL_ADC_ConfigChannel(&hadc1, &sConfig);

    HAL_ADC_Start(&hadc1);
    HAL_ADC_PollForConversion(&hadc1, HAL_MAX_DELAY);
    uint32_t value = HAL_ADC_GetValue(&hadc1);
    HAL_ADC_Stop(&hadc1);

    return value;
}
// Por mérés
float measure_dust(void)
{
	float voltage, dust_density;
	float offset_voltage = 0.6;  // Alap feszültség GP2Y1010AU0F esetén
	float conversion_factor = 0.0005;  // Konverziós tényező

    // ILED bekapcsolása
    HAL_GPIO_WritePin(GPIOB, GPIO_PIN_4, GPIO_PIN_SET);
    HAL_Delay(280); // LED stabilizálódása

    uint32_t dust_value = read_adc_value(ADC_CHANNEL_1);
    HAL_GPIO_WritePin(GPIOB, GPIO_PIN_4, GPIO_PIN_RESET); // ILED kikapcsolása
    HAL_Delay(40); // Várakozás a LED lekapcsolás után

    // Feszültség számítása
    voltage = (dust_value / 4096.0) * 3.3;

    // Porkoncentráció (μg/m³) számítása
    if (voltage > offset_voltage) {
        dust_density = (voltage - offset_voltage) / conversion_factor;
    } else {
        dust_density = 0;  // Alacsony értékek esetén nulla porkoncentráció
    }

    return dust_density;
}

// Zaj mérés
float measure_sound(void)
{
	float reference_value = 100.0;  // Alap referencia érték
	float dB_value;

	uint32_t sound_value = read_adc_value(ADC_CHANNEL_2);

	// dB számítása
	if (sound_value > 0) {
	    dB_value = 20 * log10(sound_value / reference_value);
	} else {
	    dB_value = 0;  // Csend esetén 0 dB
	}

	return dB_value;
}

void Temp_Sensor_Init()
{
	char tmsg[100];

	snprintf(tmsg, sizeof(tmsg),"HTS221 Initialization start.\r\n");

	HAL_UART_Transmit(&huart1, (uint8_t*)tmsg, strlen(tmsg), HAL_MAX_DELAY);

    HAL_Delay(10);
}

void read_environment_data(void)
{
    uint8_t temp_hum[4], press[3];
    uint8_t ctrl_reg1 = 0x50;  // ODR = 1 Hz (0x50), amely folyamatos adatfrissítést biztosít
    uint8_t status;
    float temperature, humidity, pressure;
    char msg[500];

    // HTS221 kalibrációs adatok beolvasása
    uint8_t T0_degC_x8, T1_degC_x8, T1_T0_msb;
    int16_t T0_out, T1_out;
    float T0_degC, T1_degC;

    // Kalibrációs hőmérséklet konstansok kiolvasása
    HAL_I2C_Mem_Read(&hi2c2, HTS221_ADDR, 0x32, I2C_MEMADD_SIZE_8BIT, &T0_degC_x8, 1, HAL_MAX_DELAY);
    HAL_I2C_Mem_Read(&hi2c2, HTS221_ADDR, 0x33, I2C_MEMADD_SIZE_8BIT, &T1_degC_x8, 1, HAL_MAX_DELAY);
    HAL_I2C_Mem_Read(&hi2c2, HTS221_ADDR, 0x35, I2C_MEMADD_SIZE_8BIT, &T1_T0_msb, 1, HAL_MAX_DELAY);

    // T0 és T1 fok kiszámítása a dokumentáció alapján (8-cal osztva a x8 érték miatt)
    T0_degC = ((T0_degC_x8 | ((T1_T0_msb & 0x03) << 8)) / 8.0f);
    T1_degC = ((T1_degC_x8 | ((T1_T0_msb & 0x0C) << 6)) / 8.0f);

    // Hőmérséklet kalibrációs értékek kiolvasása
    uint8_t T0_out_lsb, T0_out_msb, T1_out_lsb, T1_out_msb;
    HAL_I2C_Mem_Read(&hi2c2, HTS221_ADDR, 0x3C, I2C_MEMADD_SIZE_8BIT, &T0_out_lsb, 1, HAL_MAX_DELAY);
    HAL_I2C_Mem_Read(&hi2c2, HTS221_ADDR, 0x3D, I2C_MEMADD_SIZE_8BIT, &T0_out_msb, 1, HAL_MAX_DELAY);
    HAL_I2C_Mem_Read(&hi2c2, HTS221_ADDR, 0x3E, I2C_MEMADD_SIZE_8BIT, &T1_out_lsb, 1, HAL_MAX_DELAY);
    HAL_I2C_Mem_Read(&hi2c2, HTS221_ADDR, 0x3F, I2C_MEMADD_SIZE_8BIT, &T1_out_msb, 1, HAL_MAX_DELAY);

    // T0_out és T1_out helyes 16 bites előjeles értékként
    T0_out = (int16_t)(T0_out_msb << 8 | T0_out_lsb);
    T1_out = (int16_t)(T1_out_msb << 8 | T1_out_lsb);

    // Aktuális hőmérséklet kiolvasása
    HAL_I2C_Mem_Read(&hi2c2, HTS221_ADDR, 0x28 | 0x80, I2C_MEMADD_SIZE_8BIT, temp_hum, 4, HAL_MAX_DELAY);
    int16_t temp_raw = (int16_t)(temp_hum[1] << 8 | temp_hum[0]);

    // Hőmérséklet számítása kalibrációs adatok alapján
    temperature = T0_degC + ((float)(((temp_raw - T0_out) * (T1_degC - T0_degC) / (T1_out - T0_out)) * -1) / 128);

    // Páratartalom számítása (például egyszerű átskálázás)
    int16_t hum_raw = (int16_t)(temp_hum[3] << 8 | temp_hum[2]);
    humidity = (float)hum_raw / 65536 * 10000;

    // LPS22HB szenzor beállítása folyamatos frissítésre
    HAL_I2C_Mem_Write(&hi2c2, LPS22HB_ADDR, 0x10, I2C_MEMADD_SIZE_8BIT, &ctrl_reg1, 1, HAL_MAX_DELAY);
    HAL_Delay(100);  // Rövid késleltetés az inicializálás után

    // Frissítés ellenőrzése
    HAL_I2C_Mem_Read(&hi2c2, LPS22HB_ADDR, 0x27, I2C_MEMADD_SIZE_8BIT, &status, 1, HAL_MAX_DELAY);

    if (status & 0x01) // Nyomás adat készen áll
    {
    	HAL_I2C_Mem_Read(&hi2c2, LPS22HB_ADDR, 0x28 | 0x80, I2C_MEMADD_SIZE_8BIT, press, 3, HAL_MAX_DELAY);
    	int32_t press_raw = (int32_t)(press[2] << 16 | press[1] << 8 | press[0]);

    	// Skálázás 4096-tal, hogy hPa értéket kapjunk
    	pressure = (float)press_raw / 4044.0f;
    }

    // Külső szenzorok lekérdezése
    float dust = measure_dust();
    float sound = measure_sound();

    // Kiíratás a soros portra
    snprintf(msg, sizeof(msg), "<Measurment><Message HardverID=\"000000EC\" Ido=\"2018-01-21 19:10:00\" Eszakiszelesseg=\"47.9024651\" "
    		"Keletihosszusag=\"20.3867191\" Homerseklet=\"%f\" Legnyomas=\"%.0f\" Paratartalom=\"%.0f\" Szallopor=\"%.0f\" Zaj=\"%.0f\">"
    		"</Message></Measurment>\r\n", temperature, pressure, humidity, dust, sound);
    HAL_UART_Transmit(&huart1, (uint8_t*)msg, strlen(msg), HAL_MAX_DELAY);
}

/* USER CODE END 4 */

void Error_Handler(void)
{
  __disable_irq();
  while (1)
  {
  }
}
